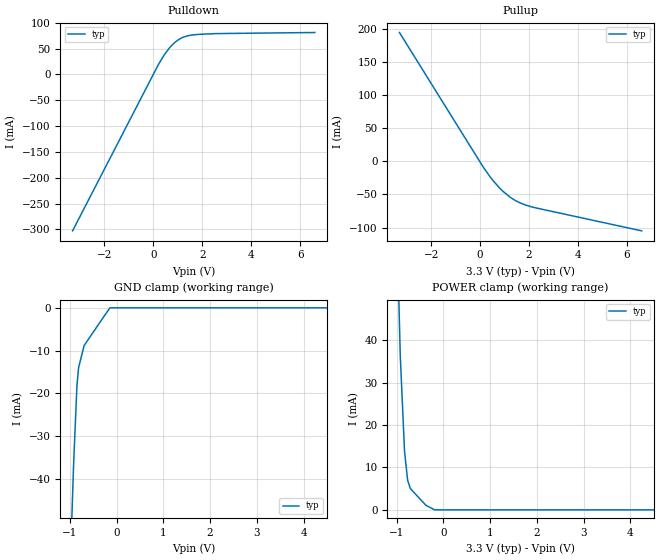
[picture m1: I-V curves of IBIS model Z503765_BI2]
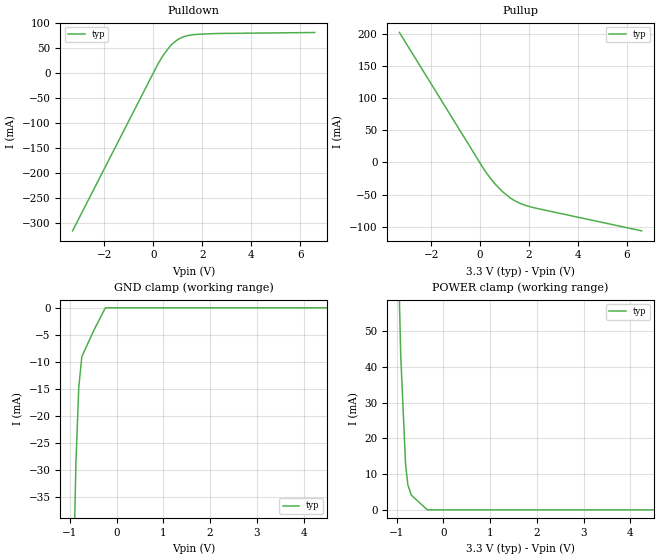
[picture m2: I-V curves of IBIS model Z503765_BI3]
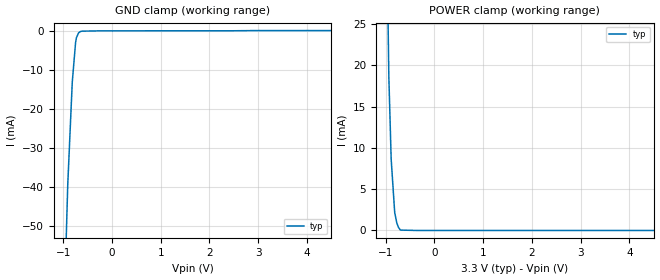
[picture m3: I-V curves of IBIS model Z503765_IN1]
| YOU ARE ONLY AUTHORIZED TO USE THIS SOFTWARE
| ACCORDING TO LICENSOR'S LICENSE RESTRICTIONS.
[IBIS Ver] 3.1
[File Name] mc74ac245n_33.ibs
[File Rev] 2.0
[Source] Measured and created by ICX Technology
[Date] Friday 7/14/00 9:07:59 AM
[Copyright]
| (C) COPYRIGHT 1993-2000
| MENTOR GRAPHICS CORPORATION
| ICX STANDARD LIBRARY, ICX PROJECT MODELING,
| ICX CUSTOM MODELING, ICX VENDOR MODEL
| ALL RIGHTS RESERVED.
| THE FOLLOWING ARE TRADEMARKS OR SERVICE MARKS OF
| MENTOR GRAPHICS CORPORATION:ICX (R), ICX STANDARD
| LIBRARY(R), ICX PROJECT MODELING(R), ICX CUSTOM
| MODELING(R), qualityIBIS(TM), MODELVIEWER(TM),
| AND MODELEDITOR(TM)
| ALL COPIES OF SOFTWARE, INCLUDING BUT NOT LIMITED TO
| ANY MODIFICATIONS, ENHANCEMENTS OR DERIVATIVE WORKS,
| MUST CONTAIN ALL MENTOR GRAPHICS CORPORATION'S
| NOTICES AND LEGENDS, INCLUDING THOSE EMBEDDED IN
| SOFTWARE AND THOSE AFFIXED TO SOFTWARE MEDIUM
| AND CONTAINER, AS RECEIVED FROM MENTOR GRAPHICS
| CORPORATION.
|  ZAP Model Builder 2.7
[Component] MC74AC245N_33
[Manufacturer] OnSemiconductor
[Package]
| variable   typ   min   max
R_pkg  .216ohms NA NA
L_pkg  5.76nH NA NA
C_pkg  1.29pF NA NA
[Pin] signal_name  model_name  R_pin  L_pin C_pin
1 DIR Z503765_IN1 .232 9.76n 1.87p
2 A0 Z503765_BI2 .224 7.26n 1.58p
3 A1 Z503765_BI2 .216 5.26n 1.29p
4 A2 Z503765_BI2 .208 3.76n 1.0p
5 A3 Z503765_BI2 .2 2.76n .71p
6 A4 Z503765_BI2 .2 2.76n .71p
7 A5 Z503765_BI2 .208 3.76n 1.0p
8 A6 Z503765_BI2 .216 5.26n 1.29p
9 A7 Z503765_BI2 .224 7.26n 1.58p
10 GND GND .232 9.76n 1.87p
11 B7 Z503765_BI3 .232 9.76n 1.87p
12 B6 Z503765_BI3 .224 7.26n 1.58p
13 B5 Z503765_BI3 .216 5.26n 1.29p
14 B4 Z503765_BI3 .208 3.76n 1.0p
15 B3 Z503765_BI3 .2 2.76n .71p
16 B2 Z503765_BI3 .2 2.76n .71p
17 B1 Z503765_BI3 .208 3.76n 1.0p
18 B0 Z503765_BI3 .216 5.26n 1.29p
19 _G Z503765_IN4 .224 7.26n 1.58p
20 VCC POWER .232 9.76n 1.87p
| Models and submodels in the file (4): Z503765_BI2 (I/O), Z503765_BI3 (I/O), Z503765_IN1 (Input), Z503765_IN4 (Input)
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| (C) COPYRIGHT 1993-2000
| MENTOR GRAPHICS CORPORATION
| ICX STANDARD LIBRARY, ICX PROJECT MODELING,
| ICX CUSTOM MODELING, ICX VENDOR MODEL
| ALL RIGHTS RESERVED.
| THE FOLLOWING ARE TRADEMARKS OR SERVICE MARKS OF
| MENTOR GRAPHICS CORPORATION:ICX (R), ICX STANDARD
| LIBRARY(R), ICX PROJECT MODELING(R), ICX CUSTOM
| MODELING(R), qualityIBIS(TM), MODELVIEWER(TM),
| AND MODELEDITOR(TM)
| ALL COPIES OF SOFTWARE, INCLUDING BUT NOT LIMITED TO
| ANY MODIFICATIONS, ENHANCEMENTS OR DERIVATIVE WORKS,
| MUST CONTAIN ALL MENTOR GRAPHICS CORPORATION'S
| NOTICES AND LEGENDS, INCLUDING THOSE EMBEDDED IN
| SOFTWARE AND THOSE AFFIXED TO SOFTWARE MEDIUM
| AND CONTAINER, AS RECEIVED FROM MENTOR GRAPHICS
| CORPORATION.
| Model Application Version 1.89 2/18/99.
[Model] Z503765_BI2
Model_type I/O
Vinl=990.0mV
Vinh=2.310V
Vref=0.000V
Rref=500.0ohms
Cref=50.00pF
Vmeas=1.650V
C_comp 8.000pF NA NA
| variable typ   min   max
[Voltage Range] 3.300V NA NA
[POWER Clamp Reference] 3.300V NA NA
[Pullup Reference] 3.300V NA NA
[Pulldown Reference] 0.000V NA NA
[GND Clamp Reference] 0.000V NA NA
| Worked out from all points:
|   slope of the pulldown table from 0 to 0.495 V, typ, clamps not added: 12.1 ohm
|   slope of the pullup table from 0 to 0.495 V, typ, clamps not added: 18.9 ohm
|   GND clamp passes 1 mA (typ) near -0.20 V on its own axis
|   POWER clamp passes 1 mA (typ) near -0.36 V on its own axis
[GND Clamp]
-3.3V     -827.5mA   NA         NA
-917.7mV  -36.29mA   NA         NA
-847.3mV  -18.2mA    NA         NA
-811.5mV  -13.95mA   NA         NA
-693.1mV  -8.799mA   NA         NA
-282.2mV  -2.225mA   NA         NA
-141.1mV  0A         NA         NA
6.6V      0A         NA         NA
[Pulldown]
-3.3V     -302.8mA   NA         NA
206.7mV   19.1mA     NA         NA
444.9mV   37.88mA    NA         NA
668.9mV   52.12mA    NA         NA
877.3mV   62.01mA    NA         NA
1.133V    70.24mA    NA         NA
1.328V    73.91mA    NA         NA
1.898V    77.92mA    NA         NA
6.6V      81.33mA    NA         NA
[Pullup]
-3.3V     194mA      NA         NA
111mV     -7.944mA   NA         NA
410mV     -23.68mA   NA         NA
791mV     -40.15mA   NA         NA
1.235V    -54.41mA   NA         NA
1.646V    -62.92mA   NA         NA
2.122V    -68.82mA   NA         NA
6.6V      -104.8mA   NA         NA
[POWER Clamp]
-3.3V     1.276A     NA         NA
-1.066V   98.86mA    NA         NA
-924mV    36.67mA    NA         NA
-832mV    13.8mA     NA         NA
-765mV    6.964mA    NA         NA
-708mV    5.038mA    NA         NA
-377mV    1.094mA    NA         NA
-188.5mV  0A         NA         NA
6.6V      0A         NA         NA
[Ramp]
| variable typ min max
dV/dt_r 1.930/749.1p NA NA
dV/dt_f 1.930/462.2p NA NA
R_load = 500.0Ohms
| (C) COPYRIGHT 1993-2000
| MENTOR GRAPHICS CORPORATION
| ICX STANDARD LIBRARY, ICX PROJECT MODELING,
| ICX CUSTOM MODELING, ICX VENDOR MODEL
| ALL RIGHTS RESERVED.
| THE FOLLOWING ARE TRADEMARKS OR SERVICE MARKS OF
| MENTOR GRAPHICS CORPORATION:ICX (R), ICX STANDARD
| LIBRARY(R), ICX PROJECT MODELING(R), ICX CUSTOM
| MODELING(R), qualityIBIS(TM), MODELVIEWER(TM),
| AND MODELEDITOR(TM)
| ALL COPIES OF SOFTWARE, INCLUDING BUT NOT LIMITED TO
| ANY MODIFICATIONS, ENHANCEMENTS OR DERIVATIVE WORKS,
| MUST CONTAIN ALL MENTOR GRAPHICS CORPORATION'S
| NOTICES AND LEGENDS, INCLUDING THOSE EMBEDDED IN
| SOFTWARE AND THOSE AFFIXED TO SOFTWARE MEDIUM
| AND CONTAINER, AS RECEIVED FROM MENTOR GRAPHICS
| CORPORATION.
| Model Application Version 1.89 2/18/99.
[Model] Z503765_BI3
Model_type I/O
Vinl=990.0mV
Vinh=2.310V
Vref=0.000V
Rref=500.0ohms
Cref=50.00pF
Vmeas=1.650V
C_comp 8.000pF NA NA
| variable typ   min   max
[Voltage Range] 3.300V NA NA
[POWER Clamp Reference] 3.300V NA NA
[Pullup Reference] 3.300V NA NA
[Pulldown Reference] 0.000V NA NA
[GND Clamp Reference] 0.000V NA NA
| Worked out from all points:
|   slope of the pulldown table from 0 to 0.495 V, typ, clamps not added: 11.9 ohm
|   slope of the pullup table from 0 to 0.495 V, typ, clamps not added: 18.3 ohm
|   GND clamp passes 1 mA (typ) near -0.30 V on its own axis
[GND Clamp]
-3.3V     -862.9mA   NA         NA
-1.099V   -122mA     NA         NA
-869mV    -28.81mA   NA         NA
-807.7mV  -14.71mA   NA         NA
-742.2mV  -9.031mA   NA         NA
-478.5mV  -4.051mA   NA         NA
-239.3mV  0A         NA         NA
6.6V      0A         NA         NA
[Pulldown]
-3.3V     -316.5mA   NA         NA
171mV     16.35mA    NA         NA
371.5mV   33.13mA    NA         NA
630.5mV   50.51mA    NA         NA
875.2mV   62.51mA    NA         NA
1.113V    70.09mA    NA         NA
1.347V    74.37mA    NA         NA
1.897V    77.92mA    NA         NA
6.6V      81.25mA    NA         NA
[Pullup]
-3.3V     202.3mA    NA         NA
165mV     -11.35mA   NA         NA
619mV     -34mA      NA         NA
908mV     -45.32mA   NA         NA
1.215V    -54.85mA   NA         NA
1.529V    -61.94mA   NA         NA
2.101V    -69.58mA   NA         NA
6.6V      -106.5mA   NA         NA
[POWER Clamp]
-3.3V     1.637A     NA         NA
-1.045V   116mA      NA         NA
-914mV    43.56mA    NA         NA
-811mV    13mA       NA         NA
-763mV    7.174mA    NA         NA
-689mV    4.147mA    NA         NA
-344.5mV  0A         NA         NA
6.6V      0A         NA         NA
[Ramp]
| variable typ min max
dV/dt_r 1.929/751.6p NA NA
dV/dt_f 1.929/442.4p NA NA
R_load = 500.0Ohms
| (C) COPYRIGHT 1993-2000
| MENTOR GRAPHICS CORPORATION
| ICX STANDARD LIBRARY, ICX PROJECT MODELING,
| ICX CUSTOM MODELING, ICX VENDOR MODEL
| ALL RIGHTS RESERVED.
| THE FOLLOWING ARE TRADEMARKS OR SERVICE MARKS OF
| MENTOR GRAPHICS CORPORATION:ICX (R), ICX STANDARD
| LIBRARY(R), ICX PROJECT MODELING(R), ICX CUSTOM
| MODELING(R), qualityIBIS(TM), MODELVIEWER(TM),
| AND MODELEDITOR(TM)
| ALL COPIES OF SOFTWARE, INCLUDING BUT NOT LIMITED TO
| ANY MODIFICATIONS, ENHANCEMENTS OR DERIVATIVE WORKS,
| MUST CONTAIN ALL MENTOR GRAPHICS CORPORATION'S
| NOTICES AND LEGENDS, INCLUDING THOSE EMBEDDED IN
| SOFTWARE AND THOSE AFFIXED TO SOFTWARE MEDIUM
| AND CONTAINER, AS RECEIVED FROM MENTOR GRAPHICS
| CORPORATION.
| Model Application Version 1.89 2/18/99.
[Model] Z503765_IN1
Model_type Input
Vinl = 990.0mV
Vinh = 2.310V
C_comp 4.000pF NA NA
| variable typ   min   max
[Voltage Range] 3.300V NA NA
[GND Clamp Reference] 0.000V NA NA
[POWER Clamp Reference] 3.300V NA NA
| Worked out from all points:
|   GND clamp passes 1 mA (typ) near -0.71 V on its own axis
|   POWER clamp passes 1 mA (typ) near -0.78 V on its own axis
[GND Clamp]
-3.3V     -2.066A    NA         NA
-1.045V   -98.84mA   NA         NA
-907.9mV  -39.32mA   NA         NA
-815.2mV  -12.96mA   NA         NA
-747.5mV  -2.882mA   NA         NA
-731mV    -1.647mA   NA         NA
-687.1mV  -391.3uA   NA         NA
-648mV    -21.6uA    NA         NA
6.6V      227.8uA    NA         NA
[POWER Clamp]
-3.3V     2.135A     NA         NA
-1.114V   115.3mA    NA         NA
-1.021V   53.51mA    NA         NA
-937mV    18.62mA    NA         NA
-889mV    8.613mA    NA         NA
-817mV    2.189mA    NA         NA
-774mV    915.2uA    NA         NA
-737mV    343.1uA    NA         NA
-698mV    45.3uA     NA         NA
-349mV    0A         NA         NA
6.6V      0A         NA         NA
